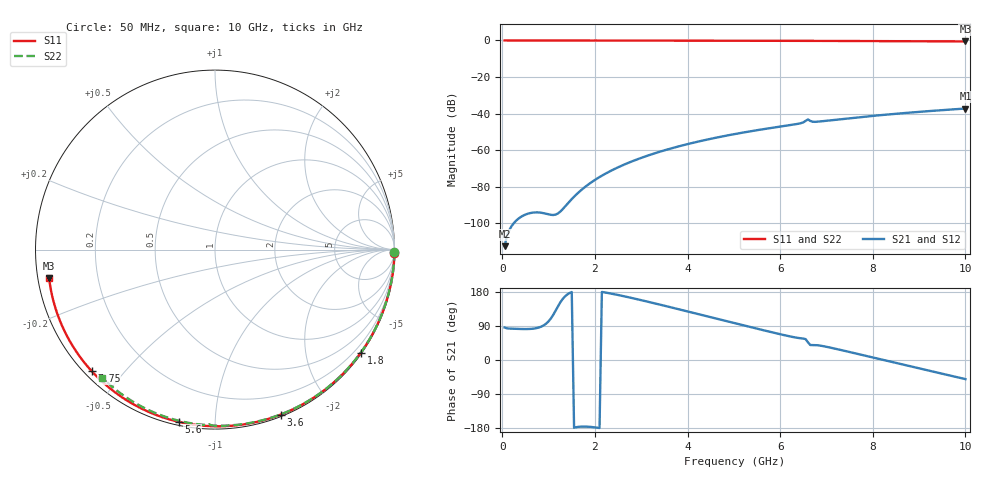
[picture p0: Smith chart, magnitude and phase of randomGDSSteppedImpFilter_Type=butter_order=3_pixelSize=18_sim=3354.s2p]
! freq	dB(S11)	phase(S11)	dB(S12)	phase(S12)
!  dB(S21)	phase(S21)	dB(S22)	phase(S22)
!S-par simulation data
#  GHz  S  DB  R 50
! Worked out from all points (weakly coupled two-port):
!   200 points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, 50 MHz to 10 GHz, reference 50 ohm
!   highest |S21| = -37.22 dB at 10 GHz (marker M1); lowest = -112.5 dB at 50 MHz (marker M2)
!   lowest |S11| = -0.6 dB at 10 GHz (marker M3), VSWR 31.29, Z = 1.61 - j4.29 ohm
!   |S11| at or under -10 dB: nowhere
!   |S22| runs from -0.4 to 0.0 dB; largest |S21 - S12| = 0
!   S11 on the Smith chart (normalised r, x): 50 MHz: open; 1.8 GHz: 0.03, -3.15; 3.6 GHz: 0.02, -1.47; 5.6 GHz: 0.02, -0.81; 7.75 GHz: 0.02, -0.41; 10 GHz: 0.03, -0.09
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0.05  -0.00 -1.0  -112.47 85.6  -112.47 85.6  -0.00 -0.8
0.85  -0.02 -16.8  -94.22 88.6  -94.22 88.6  -0.02 -12.8
1.3  -0.03 -25.6  -92.36 160.4  -92.36 160.4  -0.02 -19.6
1.75  -0.04 -34.2  -80.84 -175.7  -80.84 -175.7  -0.03 -26.2
1.8  -0.04 -35.2  -79.84 -175.8  -79.84 -175.8  -0.03 -26.9
2.1  -0.05 -40.9  -74.68 -179.4  -74.68 -179.4  -0.04 -31.3
2.5  -0.06 -48.4  -69.36 171.6  -69.36 171.6  -0.05 -37.1
2.9  -0.07 -55.7  -65.13 160.8  -65.13 160.8  -0.06 -42.8
3.4  -0.09 -64.7  -60.84 146.2  -60.84 146.2  -0.07 -49.9
3.6  -0.09 -68.3  -59.35 140.3  -59.35 140.3  -0.07 -52.7
4.3  -0.11 -80.4  -54.88 119.1  -54.88 119.1  -0.09 -62.2
5.05  -0.14 -93.0  -51.03 96.3  -51.03 96.3  -0.11 -72.2
5.6  -0.17 -101.9  -48.65 79.7  -48.65 79.7  -0.13 -79.3
6.4  -0.21 -114.6  -45.50 57.9  -45.50 57.9  -0.17 -89.4
6.5  -0.22 -116.2  -44.78 56.5  -44.78 56.5  -0.18 -90.7
6.6  -0.23 -117.7  -43.17 46.7  -43.17 46.7  -0.23 -91.9
6.7  -0.23 -119.3  -44.44 39.4  -44.44 39.4  -0.20 -92.9
6.85  -0.24 -121.6  -44.31 38.2  -44.31 38.2  -0.19 -94.8
7.75  -0.31 -135.4  -41.85 13.9  -41.85 13.9  -0.24 -105.6
8.35  -0.37 -144.6  -40.42 -3.4  -40.42 -3.4  -0.29 -112.6
9.2  -0.46 -157.6  -38.65 -27.7  -38.65 -27.7  -0.36 -122.3
10  -0.56 -170.2  -37.22 -50.4  -37.22 -50.4  -0.44 -131.3
